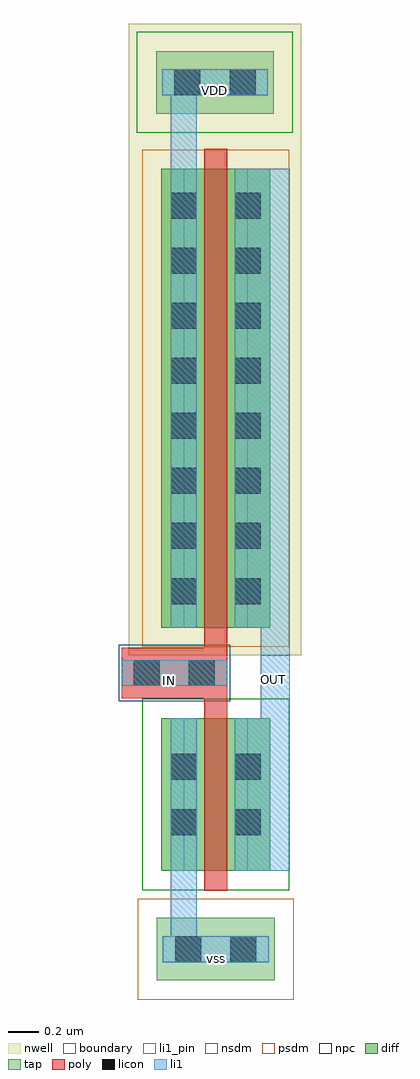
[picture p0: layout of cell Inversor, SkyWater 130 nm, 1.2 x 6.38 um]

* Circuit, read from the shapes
.subckt Inversor IN OUT VDD vss
XM1 OUT IN vss vss sky130_fd_pr__nfet_01v8 w=1 l=0.15
XM2 OUT IN VDD VDD sky130_fd_pr__pfet_01v8 w=3 l=0.15
.ends

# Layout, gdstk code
from math import pi, radians
import gdstk
lib = gdstk.Library(unit=1e-6, precision=1e-09)
def R(c, l, rs):  # rectangles x0, y0, x1, y1
    for r in rs: c.add(gdstk.rectangle(r[:2], r[2:], *l))
def A(c, l, x, y, w, h, nx, ny, dx, dy):  # array of equal rectangles
    R(c, l, [(x+i*dx, y+j*dy, x+i*dx+w, y+j*dy+h) for i in range(nx) for j in range(ny)])
nwell = (64, 20)
diff = (65, 20)
tap = (65, 44)
poly = (66, 20)
licon = (66, 44)
li1_pin = (67, 16)
li1 = (67, 20)
nsdm = (93, 44)
psdm = (94, 20)
npc = (95, 20)
boundary = (235, 4)

contact_1 = lib.new_cell('Contact$1')
R(contact_1, nwell, [(-0.385,-0.565,0.385,0.565)])
R(contact_1, tap, [(-0.205,-0.385,0.205,0.385)])
R(contact_1, licon, [(-0.085,-0.265,0.085,-0.095), (-0.085,0.095,0.085,0.265)])
R(contact_1, li1, [(-0.085,-0.345,0.085,0.345)])
R(contact_1, nsdm, [(-0.33,-0.51,0.33,0.51)])

contact_2 = lib.new_cell('Contact$2')
R(contact_2, tap, [(-0.205,-0.385,0.205,0.385)])
R(contact_2, licon, [(-0.085,-0.265,0.085,-0.095), (-0.085,0.095,0.085,0.265)])
R(contact_2, li1, [(-0.085,-0.345,0.085,0.345)])
R(contact_2, psdm, [(-0.33,-0.51,0.33,0.51)])

contact_3 = lib.new_cell('Contact$3')
R(contact_3, poly, [(-0.165,-0.345,0.165,0.345)])
R(contact_3, licon, [(-0.085,-0.265,0.085,-0.095), (-0.085,0.095,0.085,0.265)])
R(contact_3, li1, [(-0.085,-0.345,0.085,0.345)])
R(contact_3, npc, [(-0.185,-0.365,0.185,0.365)])

mosfet_2 = lib.new_cell('MOSFET$2')
R(mosfet_2, diff, [(-0.145,0,0.565,1)])
R(mosfet_2, poly, [(0.135,-0.13,0.285,1.13)])
R(mosfet_2, licon, [(-0.085,0.235,0.085,0.405), (0.335,0.235,0.505,0.405), (-0.085,0.595,0.085,0.765), (0.335,0.595,0.505,0.765)])
R(mosfet_2, li1, [(-0.085,0,0.085,1), (0.335,0,0.505,1)])
R(mosfet_2, nsdm, [(-0.27,-0.125,0.69,1.125)])
R(mosfet_2, boundary, [(0,0,0.42,1)])

mosfet_4 = lib.new_cell('MOSFET$4')
R(mosfet_4, nwell, [(-0.325,-0.18,0.745,3.18)])
R(mosfet_4, diff, [(-0.145,0,0.565,3)])
R(mosfet_4, poly, [(0.135,-0.13,0.285,3.13)])
A(mosfet_4, licon, -0.085, 0.155, 0.17, 0.17, 1, 8, 0, 0.36)
A(mosfet_4, licon, 0.335, 0.155, 0.17, 0.17, 1, 8, 0, 0.36)
R(mosfet_4, li1, [(-0.085,0,0.085,3), (0.335,0,0.505,3)])
R(mosfet_4, psdm, [(-0.27,-0.125,0.69,3.125)])
R(mosfet_4, boundary, [(0,0,0.42,3)])

inversor = lib.new_cell('Inversor')
R(inversor, nwell, [(-1.98,7.91,-0.85,11.27)])
R(inversor, li1_pin, [(-1.755,5.905,-1.065,6.075), (-1.115,7.625,-0.925,7.91), (-2.025,7.71,-1.335,7.88), (-1.76,11.57,-1.07,11.74)])
R(inversor, li1, [(-1.705,6,-1.535,7.5), (-1.115,6.5,-0.925,11.015), (-1.705,8.09,-1.535,11.74), (-1.115,11.015,-0.925,11.09)])
inversor.add(gdstk.Reference(contact_1, (-1.415,11.655), rotation=pi/2))
inversor.add(gdstk.Reference(contact_2, (-1.41,5.99), rotation=pi/2))
inversor.add(gdstk.Reference(contact_3, (-1.68,7.795), rotation=pi/2))
inversor.add(gdstk.Reference(mosfet_2, (-1.62,6.5)))
inversor.add(gdstk.Reference(mosfet_4, (-1.62,8.09)))
inversor.add(gdstk.Label('IN', (-1.715,7.745), layer=67, texttype=5))
inversor.add(gdstk.Label('OUT', (-1.03,7.755), layer=67, texttype=5))
inversor.add(gdstk.Label('VDD', (-1.42,11.6), layer=67, texttype=5))
inversor.add(gdstk.Label('vss', (-1.405,5.925), layer=67, texttype=5))

lib.write_gds('Inversor.gds')
